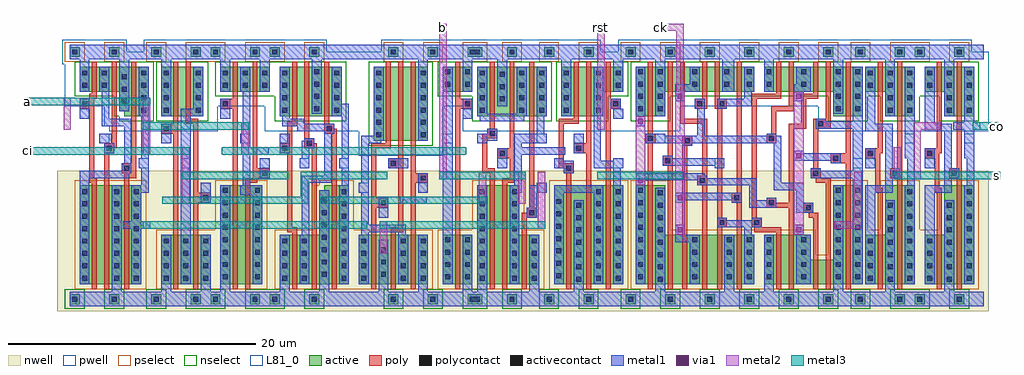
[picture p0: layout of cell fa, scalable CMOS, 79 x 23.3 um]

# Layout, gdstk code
from math import pi, radians
import gdstk
lib = gdstk.Library(unit=1e-6, precision=1e-09)
def R(c, l, rs):  # rectangles x0, y0, x1, y1
    for r in rs: c.add(gdstk.rectangle(r[:2], r[2:], *l))
def A(c, l, x, y, w, h, nx, ny, dx, dy):  # array of equal rectangles
    R(c, l, [(x+i*dx, y+j*dy, x+i*dx+w, y+j*dy+h) for i in range(nx) for j in range(ny)])
pwell = (41, 0)
nwell = (42, 0)
active = (43, 0)
pselect = (44, 0)
nselect = (45, 0)
poly = (46, 0)
polycontact = (47, 0)
activecontact = (48, 0)
metal1 = (49, 0)
via1 = (50, 0)
metal2 = (51, 0)
metal3 = (62, 0)
L81_0 = (81, 0)

or2x2 = lib.new_cell('OR2X2')
R(or2x2, pwell, [(-1,-1,4.2,0), (-1,0,7.2,1), (-0.8,1,7.2,4.4), (2.4,4.4,7.2,6), (2.8,6,7.2,6.4)])
R(or2x2, nwell, [(-1.4,9.6,7,21)])
R(or2x2, active, [(-0.4,-0.4,0.4,0.4), (2.8,-0.4,3.6,0.4), (0.4,1.2,6,3.2), (3.6,3.2,6,4.8), (4,4.8,6,5.2), (0.4,10.8,5.4,18.8), (-0.4,19.6,0.4,20.4), (2.8,19.6,3.6,20.4)])
R(or2x2, pselect, [(-0.8,-0.8,0.8,0.8), (2.4,-0.8,4,0.8), (0,10.4,5.8,19.2)])
R(or2x2, nselect, [(0,0.8,6.4,3.6), (3.2,3.6,6.4,5.2), (3.6,5.2,6.4,5.6), (-0.8,19.2,0.8,20.8), (2.4,19.2,4,20.8)])
R(or2x2, poly, [(1.4,0.8,1.8,3.4), (3,0.8,3.4,7.4), (4.6,0.8,5,9), (1.2,3.4,1.8,3.8), (0.4,3.8,1.6,4.6), (1.2,4.6,1.6,10.2), (2.4,7.4,3.4,7.8), (2.4,7.8,3.2,8.2), (2.4,8.2,2.8,19.2), (3.8,9,5,9.8), (4,9.8,5,10.2), (1.2,10.2,1.8,10.6), (4,10.2,4.4,19.2), (1.4,10.6,1.8,19.2)])
R(or2x2, polycontact, [(0.6,4,1,4.4), (2.6,7.6,3,8), (4,9.2,4.4,9.6)])
A(or2x2, activecontact, 5.4, 1.5, 0.4, 0.4, 1, 4, 0, 1)
A(or2x2, activecontact, 3.8, 1.8, 0.4, 0.4, 1, 3, 0, 1)
A(or2x2, activecontact, 0.6, 11.1, 0.4, 0.4, 1, 8, 0, 1)
A(or2x2, activecontact, 3.2, 11.1, 0.4, 0.4, 1, 8, 0, 1)
A(or2x2, activecontact, 4.8, 11.1, 0.4, 0.4, 1, 8, 0, 1)
R(or2x2, activecontact, [(-0.2,-0.2,0.2,0.2), (3,-0.2,3.4,0.2), (0.6,1.5,1,1.9), (2.2,1.5,2.6,1.9), (0.6,2.5,1,2.9), (2.2,2.5,2.6,2.9), (-0.2,19.8,0.2,20.2), (3,19.8,3.4,20.2)])
R(or2x2, metal1, [(-0.4,-0.6,6.8,0.6), (0.4,0.6,1.2,3.2), (3.6,0.6,4.4,4.8), (2,1.2,2.8,3.2), (5.2,1.2,6,5.2), (2.2,3.2,2.8,5.4), (0.4,3.8,1.2,5.4), (5.4,5.2,6,8.6), (2.2,5.4,4.6,6), (4,6,4.6,9), (2,6.6,3,7.4), (2.4,7.4,3.2,8.2), (5.2,8.6,6,9.4), (3.8,9,4.6,9.6), (5.4,9.4,6,10.8), (0.4,9.6,4.6,9.8), (0.4,9.8,4.4,10.2), (0.4,10.2,1.2,18.8), (3,10.8,3.8,19.4), (4.6,10.8,6,11.4), (4.6,11.4,5.4,18.8), (-0.4,19.4,6.8,20.6)])
R(or2x2, L81_0, [(0.4,4.6,1.2,5.4), (2,6.6,2.8,7.4), (5.2,8.6,6,9.4)])
or2x2.add(gdstk.Label('Y', (5.6,9), layer=49, texttype=0))
or2x2.add(gdstk.Label('B', (2.4,7), layer=49, texttype=0))
or2x2.add(gdstk.Label('vdd', (0.8,20), layer=49, texttype=0))
or2x2.add(gdstk.Label('gnd', (0.8,0), layer=49, texttype=0))
or2x2.add(gdstk.Label('A', (0.8,5), layer=49, texttype=0))

nand2x1 = lib.new_cell('NAND2X1')
R(nand2x1, pwell, [(-1,-1,4.2,0), (-1,0,5,1), (-0.8,1,5,6.4)])
R(nand2x1, nwell, [(-1.6,9.6,6.4,21)])
R(nand2x1, active, [(-0.4,-0.4,0.4,0.4), (2.8,-0.4,3.6,0.4), (0.4,1.2,3.8,5.2), (0.4,14.8,4.4,18.8), (-0.4,19.6,0.4,20.4), (2.8,19.6,3.6,20.4)])
R(nand2x1, pselect, [(-0.8,-0.8,0.8,0.8), (2.4,-0.8,4,0.8), (0,14.4,4.8,19.2)])
R(nand2x1, nselect, [(0,0.8,4.2,5.6), (-0.8,19.2,0.8,20.8), (2.4,19.2,4,20.8)])
R(nand2x1, poly, [(1.4,0.8,1.8,5.8), (2.4,0.8,2.8,5.4), (2.4,5.4,3.4,5.8), (0.4,5.8,1.8,6.6), (3,5.8,3.4,11.4), (1.4,6.6,1.8,19.2), (3,11.4,4.4,12.2), (3,12.2,3.4,19.2)])
R(nand2x1, polycontact, [(0.6,6,1,6.4), (3.8,11.6,4.2,12)])
A(nand2x1, activecontact, 0.6, 1.5, 0.4, 0.4, 1, 4, 0, 1)
A(nand2x1, activecontact, 3.2, 1.5, 0.4, 0.4, 1, 4, 0, 1)
A(nand2x1, activecontact, 0.6, 15.1, 0.4, 0.4, 3, 4, 1.6, 1)
R(nand2x1, activecontact, [(-0.2,-0.2,0.2,0.2), (3,-0.2,3.4,0.2), (-0.2,19.8,0.2,20.2), (3,19.8,3.4,20.2)])
R(nand2x1, metal1, [(-0.4,-0.6,5.2,0.6), (0.4,0.6,1.2,5.2), (3,1.2,3.8,4.6), (2,4.6,3.8,5.2), (2,5.2,2.8,18.8), (0.4,5.8,1.2,7.4), (3.6,10.6,4.4,12.2), (0.4,14.8,1.2,19.4), (3.6,14.8,4.4,19.4), (-0.4,19.4,5.2,20.6)])
R(nand2x1, L81_0, [(0.4,6.6,1.2,7.4), (2,8.6,2.8,9.4), (3.6,10.6,4.4,11.4)])
nand2x1.add(gdstk.Label('vdd', (0.8,20), layer=49, texttype=0))
nand2x1.add(gdstk.Label('Y', (2.4,9), layer=49, texttype=0))
nand2x1.add(gdstk.Label('gnd', (0.8,0), layer=49, texttype=0))
nand2x1.add(gdstk.Label('A', (0.8,7), layer=49, texttype=0))
nand2x1.add(gdstk.Label('B', (4,11), layer=49, texttype=0))

nor2x1 = lib.new_cell('NOR2X1')
R(nor2x1, pwell, [(-1,-1,4.2,0), (-1,0,5.6,1), (-0.8,1,5.6,4.4)])
R(nor2x1, nwell, [(-1.6,9.6,6.4,21)])
R(nor2x1, active, [(-0.4,-0.4,0.4,0.4), (2.8,-0.4,3.6,0.4), (0.4,1.2,4.4,3.2), (0.4,10.8,3.8,18.8), (-0.4,19.6,0.4,20.4), (2.8,19.6,3.6,20.4)])
R(nor2x1, pselect, [(-0.8,-0.8,0.8,0.8), (2.4,-0.8,4,0.8), (0,10.4,4.2,19.2)])
R(nor2x1, nselect, [(0,0.8,4.8,3.6), (-0.8,19.2,0.8,20.8), (2.4,19.2,4,20.8)])
R(nor2x1, poly, [(1.4,0.8,1.8,3.8), (3,0.8,3.4,9.4), (0.4,3.8,1.8,4.6), (1.4,4.6,1.8,19.2), (3,9.4,4.4,10.2), (2.4,10.2,3.4,10.6), (2.4,10.6,2.8,19.2)])
R(nor2x1, polycontact, [(0.6,4,1,4.4), (3.8,9.6,4.2,10)])
A(nor2x1, activecontact, 0.6, 1.5, 0.4, 0.4, 3, 2, 1.6, 1)
A(nor2x1, activecontact, 0.6, 11, 0.4, 0.4, 1, 8, 0, 1)
A(nor2x1, activecontact, 3.2, 11, 0.4, 0.4, 1, 8, 0, 1)
R(nor2x1, activecontact, [(-0.2,-0.2,0.2,0.2), (3,-0.2,3.4,0.2), (-0.2,19.8,0.2,20.2), (3,19.8,3.4,20.2)])
R(nor2x1, metal1, [(-0.4,-0.6,5.2,0.6), (0.4,0.6,1.2,3.2), (3.6,0.6,4.4,3.2), (2,1.2,2.8,3.2), (2.2,3.2,2.8,6.6), (0.4,3.8,1.2,5.4), (2,6.6,2.8,7.4), (2.2,7.4,2.8,10.8), (3.6,8.6,4.4,10.2), (0.4,10.8,1.2,19.4), (2,10.8,3.8,11.6), (3,11.6,3.8,18.8), (-0.4,19.4,5.2,20.6)])
R(nor2x1, L81_0, [(0.4,4.6,1.2,5.4), (2,6.6,2.8,7.4), (3.6,8.6,4.4,9.4)])
nor2x1.add(gdstk.Label('vdd', (0.8,20), layer=49, texttype=0))
nor2x1.add(gdstk.Label('B', (4,9), layer=49, texttype=0))
nor2x1.add(gdstk.Label('gnd', (0.8,0), layer=49, texttype=0))
nor2x1.add(gdstk.Label('Y', (2.4,7), layer=49, texttype=0))
nor2x1.add(gdstk.Label('A', (0.8,5), layer=49, texttype=0))

and2x2 = lib.new_cell('AND2X2')
R(and2x2, pwell, [(-1,-1,4.2,0), (-1,0,6.6,1), (-0.8,1,6.6,6.4)])
R(and2x2, nwell, [(-1.6,9.6,8,21)])
R(and2x2, active, [(-0.4,-0.4,0.4,0.4), (2.8,-0.4,3.6,0.4), (0.4,1.2,5.4,5.2), (4,10.8,6,11.2), (3.6,11.2,6,14.8), (0.4,14.8,6,18.8), (-0.4,19.6,0.4,20.4), (2.8,19.6,3.6,20.4)])
R(and2x2, pselect, [(-0.8,-0.8,0.8,0.8), (2.4,-0.8,4,0.8), (3.6,10.4,6.4,10.8), (3.2,10.8,6.4,14.4), (0,14.4,6.4,19.2)])
R(and2x2, nselect, [(0,0.8,5.8,5.6), (-0.8,19.2,0.8,20.8), (2.4,19.2,4,20.8)])
R(and2x2, poly, [(1.4,0.8,1.8,5.6), (2.4,0.8,2.8,7), (4,0.8,4.4,5.8), (1,5.6,1.8,6), (4,5.8,4.8,6.2), (1,6,1.4,7.4), (4,6.2,5,6.6), (4.6,6.6,5,19.2), (2.4,7,3.2,7.4), (0.4,7.4,1.4,8.2), (2.4,7.4,3.4,7.8), (3,7.8,3.4,19.2), (1,8.2,1.4,14.2), (1,14.2,1.8,14.6), (1.4,14.6,1.8,19.2)])
R(and2x2, polycontact, [(4.2,6,4.6,6.4), (2.6,7.2,3,7.6), (0.6,7.6,1,8)])
A(and2x2, activecontact, 3.2, 1.4, 0.4, 0.4, 1, 4, 0, 1)
A(and2x2, activecontact, 0.6, 1.5, 0.4, 0.4, 1, 4, 0, 1)
A(and2x2, activecontact, 4.8, 1.5, 0.4, 0.4, 1, 4, 0, 1)
A(and2x2, activecontact, 5.4, 11.1, 0.4, 0.4, 1, 8, 0, 1)
A(and2x2, activecontact, 3.8, 11.8, 0.4, 0.4, 1, 7, 0, 1)
A(and2x2, activecontact, 0.6, 15.1, 0.4, 0.4, 1, 4, 0, 1)
A(and2x2, activecontact, 2.2, 15.1, 0.4, 0.4, 1, 4, 0, 1)
R(and2x2, activecontact, [(-0.2,-0.2,0.2,0.2), (3,-0.2,3.4,0.2), (-0.2,19.8,0.2,20.2), (3,19.8,3.4,20.2)])
R(and2x2, metal1, [(-0.4,-0.6,6.8,0.6), (3,0.6,3.8,5), (0.4,1.2,1.2,5.2), (4.6,1.2,5.4,4.2), (4.6,4.2,6,5.2), (0.6,5.2,1.2,5.4), (5.4,5.2,6,8.6), (0.6,5.4,2.4,5.8), (0.6,5.8,4.8,6), (1.8,6,4.8,6.4), (4,6.4,4.8,6.6), (0.4,6.6,1.2,8.2), (4,6.6,4.6,10), (2.4,7,3.2,7.2), (2.2,7.2,3.2,7.8), (2.2,7.8,2.8,8.6), (2,8.6,2.8,9.4), (5.2,8.6,6,9.4), (5.4,9.4,6,10.8), (2.2,10,4.6,10.6), (2.2,10.6,2.8,14.8), (5.2,10.8,6,18.8), (3.6,11.2,4.4,19.4), (0.4,14.8,1.2,19.4), (2,14.8,2.8,18.8), (-0.4,19.4,6.8,20.6)])
R(and2x2, L81_0, [(0.4,6.6,1.2,7.4), (2,8.6,2.8,9.4), (5.2,8.6,6,9.4)])
and2x2.add(gdstk.Label('vdd', (0.8,20), layer=49, texttype=0))
and2x2.add(gdstk.Label('gnd', (0.8,0), layer=49, texttype=0))
and2x2.add(gdstk.Label('A', (0.8,7), layer=49, texttype=0))
and2x2.add(gdstk.Label('B', (2.4,9), layer=49, texttype=0))
and2x2.add(gdstk.Label('Y', (5.6,9), layer=49, texttype=0))

nand3x1 = lib.new_cell('NAND3X1')
R(nand3x1, pwell, [(-1,-1,4.2,0), (-1,0,6,1), (-0.8,1,6,8.4)])
R(nand3x1, nwell, [(-1.6,9.6,8,21)])
R(nand3x1, active, [(-0.4,-0.4,0.4,0.4), (2.8,-0.4,3.6,0.4), (0.4,1.2,4.8,7.2), (0.4,14.8,6,18.8), (-0.4,19.6,0.4,20.4), (2.8,19.6,3.6,20.4)])
R(nand3x1, pselect, [(-0.8,-0.8,0.8,0.8), (2.4,-0.8,4,0.8), (0,14.4,6.4,19.2)])
R(nand3x1, nselect, [(0,0.8,5.2,7.6), (-0.8,19.2,0.8,20.8), (2.4,19.2,4,20.8)])
R(nand3x1, poly, [(1.4,0.8,1.8,9.8), (2.4,0.8,2.8,8.6), (3.4,0.8,3.8,7.4), (3.4,7.4,5,7.8), (4.6,7.8,5,11.8), (2.4,8.6,3.6,9.4), (2.4,9.4,2.8,14.2), (0.4,9.8,1.8,10.6), (1.4,10.6,1.8,19.2), (3.6,11.8,5,12.6), (4.6,12.6,5,19.2), (2.4,14.2,3.4,14.6), (3,14.6,3.4,19.2)])
R(nand3x1, polycontact, [(3,8.8,3.4,9.2), (0.6,10,1,10.4), (3.8,12,4.2,12.4)])
A(nand3x1, activecontact, 0.6, 1.5, 0.4, 0.4, 1, 6, 0, 1)
A(nand3x1, activecontact, 4.2, 1.5, 0.4, 0.4, 1, 6, 0, 1)
A(nand3x1, activecontact, 0.6, 15.1, 0.4, 0.4, 1, 4, 0, 1)
A(nand3x1, activecontact, 2.2, 15.1, 0.4, 0.4, 1, 4, 0, 1)
A(nand3x1, activecontact, 5.4, 15.1, 0.4, 0.4, 1, 4, 0, 1)
A(nand3x1, activecontact, 3.8, 15.8, 0.4, 0.4, 1, 3, 0, 1)
R(nand3x1, activecontact, [(-0.2,-0.2,0.2,0.2), (3,-0.2,3.4,0.2), (-0.2,19.8,0.2,20.2), (3,19.8,3.4,20.2)])
R(nand3x1, metal1, [(-0.4,-0.6,6.8,0.6), (0.4,0.6,1.2,7.2), (4,1.2,4.8,6.8), (4,6.8,5.8,7.2), (4.2,7.2,5.8,7.4), (5.2,7.4,5.8,10.6), (2,8.6,3.6,9.4), (0.4,9.8,1.2,11.4), (5.2,10.6,6,11.4), (5.2,11.4,5.8,14), (3.6,11.8,4.4,13.4), (2.2,14,5.8,14.6), (2.2,14.6,2.8,14.8), (5.2,14.6,5.8,14.8), (0.4,14.8,1.2,19.4), (2,14.8,2.8,18.8), (5.2,14.8,6,18.8), (3.6,15.2,4.4,19.4), (-0.4,19.4,6.8,20.6)])
R(nand3x1, L81_0, [(2,8.6,2.8,9.4), (0.4,10.6,1.2,11.4), (5.2,10.6,6,11.4), (3.6,12.6,4.4,13.4)])
nand3x1.add(gdstk.Label('B', (2.4,9), layer=49, texttype=0))
nand3x1.add(gdstk.Label('vdd', (0.8,20), layer=49, texttype=0))
nand3x1.add(gdstk.Label('gnd', (0.8,0), layer=49, texttype=0))
nand3x1.add(gdstk.Label('A', (0.8,11), layer=49, texttype=0))
nand3x1.add(gdstk.Label('C', (4,13), layer=49, texttype=0))
nand3x1.add(gdstk.Label('Y', (5.6,11), layer=49, texttype=0))

invx1 = lib.new_cell('INVX1')
R(invx1, pwell, [(-1,-1,1,0), (-1,0,4,1), (-0.8,1,4,4.4)])
R(invx1, nwell, [(-1.8,9.6,5.2,21)])
R(invx1, active, [(-0.4,-0.4,0.4,0.4), (0.4,1.2,2.8,3.2), (0.4,14.8,2.8,18.8), (-0.4,19.6,0.4,20.4)])
R(invx1, pselect, [(-0.8,-0.8,0.8,0.8), (0,14.4,3.2,19.2)])
R(invx1, nselect, [(0,0.8,3.2,3.6), (-0.8,19.2,0.8,20.8)])
R(invx1, poly, [(1.4,0.8,1.8,3.8), (0.4,3.8,1.8,4.6), (1.4,4.6,1.8,19.2)])
R(invx1, polycontact, [(0.6,4,1,4.4)])
A(invx1, activecontact, 0.6, 15, 0.4, 0.4, 1, 4, 0, 1)
A(invx1, activecontact, 2.2, 15, 0.4, 0.4, 1, 4, 0, 1)
R(invx1, activecontact, [(-0.2,-0.2,0.2,0.2), (0.6,1.4,1,1.8), (2.2,1.4,2.6,1.8), (0.6,2.4,1,2.8), (2.2,2.4,2.6,2.8), (-0.2,19.8,0.2,20.2)])
R(invx1, metal1, [(-0.4,-0.6,3.6,0.6), (0.4,0.6,1.2,3.2), (2,1.2,2.8,18.8), (0.4,3.8,1.2,5.4), (0.4,14.8,1.2,19.4), (-0.4,19.4,3.6,20.6)])
R(invx1, L81_0, [(0.4,4.6,1.2,5.4), (2,6.6,2.8,7.4)])
invx1.add(gdstk.Label('A', (0.8,5), layer=49, texttype=0))
invx1.add(gdstk.Label('Y', (2.4,7), layer=49, texttype=0))
invx1.add(gdstk.Label('vdd', (0.8,20), layer=49, texttype=0))
invx1.add(gdstk.Label('gnd', (0.8,0), layer=49, texttype=0))

oai21x1 = lib.new_cell('OAI21X1')
R(oai21x1, pwell, [(-1,-1,4.2,0), (-1,0,7.2,1), (-0.8,1,7.2,6.4)])
R(oai21x1, nwell, [(-1.6,9.6,6.8,21)])
R(oai21x1, active, [(-0.4,-0.4,0.4,0.4), (2.8,-0.4,3.6,0.4), (0.4,1.2,6,5.2), (0.4,10.8,3.8,14.8), (0.4,14.8,5.4,18.8), (-0.4,19.6,0.4,20.4), (2.8,19.6,3.6,20.4)])
R(oai21x1, pselect, [(-0.8,-0.8,0.8,0.8), (2.4,-0.8,4,0.8), (0,10.4,4.2,14.4), (0,14.4,5.8,19.2)])
R(oai21x1, nselect, [(0,0.8,6.4,5.6), (-0.8,19.2,0.8,20.8), (2.4,19.2,4,20.8)])
R(oai21x1, poly, [(1.4,0.8,1.8,6.2), (3,0.8,3.4,7.8), (4.6,0.8,5,12.6), (1.2,6.2,2,6.6), (0.8,6.6,2,7), (0.8,7,1.2,9.4), (2,7.8,3.4,8.6), (3,8.6,3.4,10.2), (0.8,9.4,1.8,9.8), (1.4,9.8,1.8,19.2), (2.4,10.2,3.4,10.6), (2.4,10.6,2.8,19.2), (4.4,12.6,5.2,13), (4,13,5.2,13.4), (4,13.4,4.4,19.2)])
R(oai21x1, polycontact, [(1.4,6.4,1.8,6.8), (2.2,8,2.6,8.4), (4.6,12.8,5,13.2)])
A(oai21x1, activecontact, 0.6, 1.5, 0.4, 0.4, 1, 4, 0, 1)
A(oai21x1, activecontact, 3.8, 1.5, 0.4, 0.4, 1, 4, 0, 1)
A(oai21x1, activecontact, 5.4, 1.5, 0.4, 0.4, 1, 4, 0, 1)
A(oai21x1, activecontact, 2.2, 1.6, 0.4, 0.4, 1, 3, 0, 1)
A(oai21x1, activecontact, 0.6, 11.1, 0.4, 0.4, 1, 8, 0, 1)
A(oai21x1, activecontact, 3.2, 11.1, 0.4, 0.4, 1, 8, 0, 1)
A(oai21x1, activecontact, 4.8, 15.1, 0.4, 0.4, 1, 4, 0, 1)
R(oai21x1, activecontact, [(-0.2,-0.2,0.2,0.2), (3,-0.2,3.4,0.2), (-0.2,19.8,0.2,20.2), (3,19.8,3.4,20.2)])
R(oai21x1, metal1, [(-0.4,-0.6,6.8,0.6), (2,0.6,2.8,4.4), (0.4,1.2,1.2,5), (3.6,1.2,4.4,5), (5.2,1.2,6,5.2), (0.4,5,4.4,5.2), (0.6,5.2,4.2,5.6), (5.2,5.2,5.8,6.6), (1.2,6.2,2,6.6), (0.4,6.6,2,7.2), (3.4,6.6,6,7.4), (0.4,7.2,1.2,7.4), (3.4,7.4,4,10.8), (2,7.8,2.8,9.4), (5.2,10.6,6,10.8), (0.4,10.8,1.2,19.4), (3,10.8,4,11.4), (4.6,10.8,6,11.4), (3,11.4,3.8,18.8), (4.6,11.4,5.2,12.6), (4.4,12.6,5.2,13.4), (4.6,14.8,5.4,19.4), (-0.4,19.4,6.8,20.6)])
R(oai21x1, L81_0, [(0.4,6.6,1.2,7.4), (5.2,6.6,6,7.4), (2,8.6,2.8,9.4), (5.2,10.6,6,11.4)])
oai21x1.add(gdstk.Label('gnd', (0.8,0), layer=49, texttype=0))
oai21x1.add(gdstk.Label('vdd', (0.8,20), layer=49, texttype=0))
oai21x1.add(gdstk.Label('A', (0.8,7), layer=49, texttype=0))
oai21x1.add(gdstk.Label('B', (2.4,9), layer=49, texttype=0))
oai21x1.add(gdstk.Label('Y', (5.6,7), layer=49, texttype=0))
oai21x1.add(gdstk.Label('C', (5.6,11), layer=49, texttype=0))

aoi21x1 = lib.new_cell('AOI21X1')
R(aoi21x1, pwell, [(-1,-1,4.2,0), (-1,0,7.2,1), (-0.2,1,7.2,4.4), (-0.2,4.4,5.6,6.4)])
R(aoi21x1, nwell, [(-1.4,9.6,7.8,21)])
R(aoi21x1, active, [(-0.4,-0.4,0.4,0.4), (2.8,-0.4,3.6,0.4), (1,1.2,6,3.2), (1,3.2,4.4,5.2), (0.4,10.8,6,18.8), (-0.4,19.6,0.4,20.4), (2.8,19.6,3.6,20.4)])
R(aoi21x1, pselect, [(-0.8,-0.8,0.8,0.8), (2.4,-0.8,4,0.8), (0,10.4,6.4,19.2)])
R(aoi21x1, nselect, [(0.6,0.8,6.4,3.6), (0.6,3.6,4.8,5.6), (-0.8,19.2,0.8,20.8), (2.4,19.2,4,20.8)])
R(aoi21x1, poly, [(2,0.8,2.4,5.4), (3,0.8,3.4,7.4), (4.6,0.8,5,3.8), (4.6,3.8,5.8,4.6), (4.6,4.6,5,19.2), (0.8,5.4,2.4,5.8), (0.8,5.8,1.2,9), (2,7.4,3.4,8.2), (3,8.2,3.4,19.2), (0.8,9,2,9.4), (1.2,9.4,2,9.8), (1.4,9.8,1.8,19.2)])
R(aoi21x1, polycontact, [(5.2,4,5.6,4.4), (2.2,7.6,2.6,8), (1.4,9.2,1.8,9.6)])
A(aoi21x1, activecontact, 1.2, 1.5, 0.4, 0.4, 1, 4, 0, 1)
A(aoi21x1, activecontact, 3.8, 1.5, 0.4, 0.4, 1, 4, 0, 1)
A(aoi21x1, activecontact, 3.8, 11.1, 0.4, 0.4, 1, 8, 0, 1)
A(aoi21x1, activecontact, 5.4, 11.1, 0.4, 0.4, 1, 8, 0, 1)
A(aoi21x1, activecontact, 0.6, 11.9, 0.4, 0.4, 1, 7, 0, 1)
A(aoi21x1, activecontact, 2.2, 12.2, 0.4, 0.4, 1, 7, 0, 1)
R(aoi21x1, activecontact, [(-0.2,-0.2,0.2,0.2), (3,-0.2,3.4,0.2), (5.4,1.5,5.8,1.9), (5.4,2.5,5.8,2.9), (-0.2,19.8,0.2,20.2), (3,19.8,3.4,20.2)])
R(aoi21x1, metal1, [(-0.4,-0.6,6.8,0.6), (1,0.6,1.8,5.2), (5.2,0.6,6,3.2), (3.6,1.2,4.4,5.2), (5,3.8,5.8,4.6), (5.2,4.6,6,5.4), (3.6,5.2,4.2,8.8), (2,6.6,2.8,8.2), (0.4,8.6,1.2,8.8), (5.2,8.6,6,8.8), (0.4,8.8,2,9.4), (3.6,8.8,6,9.4), (1.2,9.4,2,9.8), (5.2,9.4,5.8,10.8), (0.4,10.8,4.4,11.4), (5.2,10.8,6,18.8), (0.4,11.4,1.2,18.8), (3.6,11.4,4.4,18.8), (2,12,2.8,19.4), (-0.4,19.4,6.8,20.6)])
R(aoi21x1, L81_0, [(5.2,4.6,6,5.4), (2,6.6,2.8,7.4), (0.4,8.6,1.2,9.4), (5.2,8.6,6,9.4)])
aoi21x1.add(gdstk.Label('gnd', (0.8,0), layer=49, texttype=0))
aoi21x1.add(gdstk.Label('vdd', (0.8,20), layer=49, texttype=0))
aoi21x1.add(gdstk.Label('A', (0.8,9), layer=49, texttype=0))
aoi21x1.add(gdstk.Label('B', (2.4,7), layer=49, texttype=0))
aoi21x1.add(gdstk.Label('Y', (5.6,9), layer=49, texttype=0))
aoi21x1.add(gdstk.Label('C', (5.6,5), layer=49, texttype=0))

dffposx1 = lib.new_cell('DFFPOSX1')
R(dffposx1, pwell, [(-1,-1,17,0), (-1,0,20,1), (-0.8,1,20,4.4), (-0.8,4.4,4,6.4), (15.2,4.4,20,6.4)])
R(dffposx1, nwell, [(-1.6,9.6,20.8,21)])
A(dffposx1, active, -0.4, -0.4, 0.8, 0.8, 6, 2, 3.2, 20)
R(dffposx1, active, [(0.4,1.2,10,3.2), (10.8,1.2,18.8,3.2), (0.4,3.2,2.8,5.2), (16.4,3.2,18.8,5.2), (0.4,10.8,2.8,14.8), (16.4,10.8,18.8,16.8), (0.4,14.8,10,18.8), (10.8,14.8,14.6,16.8), (10.8,16.8,18.8,18.8)])
A(dffposx1, pselect, -0.8, -0.8, 1.6, 1.6, 6, 1, 3.2, 0)
R(dffposx1, pselect, [(0,10.4,3.2,14.4), (16,10.4,19.2,16.4), (0,14.4,15,16.4), (0,16.4,19.2,19.2)])
A(dffposx1, nselect, -0.8, 19.2, 1.6, 1.6, 6, 1, 3.2, 0)
R(dffposx1, nselect, [(0,0.8,19.2,3.6), (0,3.6,3.2,5.6), (16,3.6,19.2,5.6)])
R(dffposx1, poly, [(1.4,0.8,1.8,6.6), (3,0.8,3.4,8.4), (4,0.8,4.4,5.4), (5.8,0.8,6.2,3.8), (6.8,0.8,7.2,3.8), (8.6,0.8,9,11.4), (11.8,0.8,12.2,3.4), (12.8,0.8,13.2,4.4), (14.8,0.8,15.2,3.4), (15.8,0.8,16.2,5.4), (17.4,0.8,17.8,8.2), (9.8,3.4,12.2,3.8), (13.8,3.4,15.2,3.8), (5.2,3.8,6.2,4.6), (6.8,3.8,7.8,4.6), (9.8,3.8,10.2,13.4), (13.8,3.8,14.2,5.8), (11.4,4.4,13.2,4.8), (7,4.6,7.4,13.4), (11.4,4.8,11.8,6.6), (4,5.4,6.2,5.8), (14.8,5.4,16.2,6.2), (5.8,5.8,6.2,10), (12.8,5.8,14.2,6.2), (12.8,6.2,13.2,12.2), (14.8,6.2,15.2,9.4), (1.2,6.6,2,7.4), (11,6.6,11.8,7.4), (4.2,6.8,5,7.6), (1.4,7.4,1.8,19.2), (4.2,7.6,4.6,19.2), (16.2,8.2,17.8,9), (2.6,8.4,3.4,9.2), (17.4,9,17.8,19.2), (3,9.2,3.4,19.2), (14.6,9.4,15.4,10.2), (5.4,10,6.2,10.8), (15,10.2,16.2,10.6), (15.8,10.6,16.2,19.2), (5.8,10.8,6.2,19.2), (8.2,11.4,9,12.2), (11,11.8,11.8,12.2), (8.6,12.2,9,19.2), (11,12.2,13.2,12.6), (14,12.2,14.8,13), (12.8,12.6,13.2,19.2), (14.4,13,15.2,13.4), (7,13.4,7.8,14.2), (9.8,13.4,10.6,14.2), (14.8,13.4,15.2,19.2), (7,14.2,7.4,19.2), (10,14.2,12.2,14.6), (11.8,14.6,12.2,19.2)])
R(dffposx1, polycontact, [(5.4,4,5.8,4.4), (7.2,4,7.6,4.4), (15.2,5.6,15.6,6), (1.4,6.8,1.8,7.2), (11.2,6.8,11.6,7.2), (4.4,7,4.8,7.4), (16.4,8.4,16.8,8.8), (2.8,8.6,3.2,9), (14.8,9.6,15.2,10), (5.6,10.2,6,10.6), (8.4,11.6,8.8,12), (11.2,12,11.6,12.4), (14.2,12.4,14.6,12.8), (7.2,13.6,7.6,14), (10,13.6,10.4,14)])
A(dffposx1, activecontact, -0.2, -0.2, 0.4, 0.4, 6, 2, 3.2, 20)
A(dffposx1, activecontact, 0.6, 1.4, 0.4, 0.4, 1, 4, 0, 1)
A(dffposx1, activecontact, 2.2, 1.4, 0.4, 0.4, 1, 4, 0, 1)
A(dffposx1, activecontact, 11, 1.4, 0.4, 0.4, 3, 2, 2.8, 1)
A(dffposx1, activecontact, 18.2, 1.4, 0.4, 0.4, 1, 4, 0, 1)
A(dffposx1, activecontact, 0.6, 11, 0.4, 0.4, 1, 8, 0, 1)
A(dffposx1, activecontact, 16.6, 11, 0.4, 0.4, 1, 8, 0, 1)
A(dffposx1, activecontact, 18.2, 11, 0.4, 0.4, 1, 8, 0, 1)
A(dffposx1, activecontact, 2.2, 11.2, 0.4, 0.4, 1, 8, 0, 1)
A(dffposx1, activecontact, 5, 15, 0.4, 0.4, 1, 4, 0, 1)
A(dffposx1, activecontact, 7.8, 15, 0.4, 0.4, 3, 4, 1.6, 1)
A(dffposx1, activecontact, 13.8, 15, 0.4, 0.4, 1, 4, 0, 1)
R(dffposx1, activecontact, [(5,1.4,5.4,1.8), (7.6,1.4,8,1.8), (9.4,1.4,9.8,1.8), (5,2.4,5.4,2.8), (7.6,2.4,8,2.8), (9.4,2.4,9.8,2.8), (16.6,3.4,17,3.8), (16.6,4.4,17,4.8)])
R(dffposx1, metal1, [(-0.4,-0.6,19.6,0.6), (2,0.6,2.8,5.2), (7.4,0.6,8.4,3.2), (10.8,0.6,11.6,3.2), (16.4,0.6,17.2,5), (0.4,1.2,1.2,6), (4.8,1.2,5.6,2.6), (9.2,1.2,10,3.2), (13.4,1.2,14.6,2.6), (18,1.2,18.8,5.6), (3.6,2.6,5.6,3.2), (13.2,2.6,14.6,3.2), (3.6,3.2,4.4,4), (9.2,3.2,9.8,3.8), (13.2,3.2,14,4), (5.2,3.8,6,4.6), (7,3.8,9.8,4.4), (7,4.4,7.8,4.6), (5.4,4.6,6,6.8), (15,5.4,15.8,5.6), (15,5.6,18.8,6.2), (18,6.2,18.8,9.6), (1.2,6.6,2.8,6.8), (11,6.6,11.8,6.8), (1.2,6.8,12.2,7.4), (4.2,7.4,5,7.6), (11.6,7.4,12.2,10.6), (13.2,8,14,8.2), (13.2,8.2,17,8.8), (2.6,8.4,3.4,8.6), (2.6,8.6,7.6,9.2), (16.2,8.8,17,9), (6.8,9.2,7.6,9.4), (14.6,9.4,15.4,9.6), (14.6,9.6,18.8,10.2), (0.4,9.8,6,10), (0.4,10,6.2,10.2), (0.4,10.2,10.2,10.4), (18,10.2,18.8,18.8), (0.4,10.4,1.2,18.8), (5.4,10.4,10.2,10.8), (11.6,10.6,14,11.2), (9.6,10.8,10.2,12), (16.4,10.8,17.2,19.4), (2,11,2.8,19.4), (13.4,11.2,14,12.2), (3.6,11.4,9,12), (11,11.8,11.8,12), (3.6,12,4.4,12.2), (8.2,12,9,12.2), (9.6,12,11.8,12.6), (13.4,12.2,14.8,13), (7,13.4,7.8,13.6), (9.8,13.4,10.6,13.6), (7,13.6,10.6,14.2), (3.6,14,4.4,14.8), (13.2,14,14,14.8), (9.2,14.2,9.8,14.8), (3.6,14.8,5.6,15.4), (7.6,14.8,8.4,19.4), (9.2,14.8,10,18.8), (10.8,14.8,11.6,19.4), (13.4,14.8,14.6,18.8), (4.8,15.4,5.6,18.8), (-0.4,19.4,19.6,20.6)])
R(dffposx1, via1, [(3.8,3.4,4.2,3.8), (13.4,3.4,13.8,3.8), (0.6,5.4,1,5.8), (13.4,8.2,13.8,8.6), (0.6,10.2,1,10.6), (3.8,11.6,4.2,12), (3.8,14.2,4.2,14.6), (13.4,14.2,13.8,14.6)])
R(dffposx1, metal2, [(3.6,3.2,4.4,14.8), (13.2,3.2,14,14.8), (0.4,5.2,1.2,10.8)])
R(dffposx1, L81_0, [(2,6.6,2.8,7.4), (6.8,8.6,7.6,9.4), (18,8.6,18.8,9.4)])
dffposx1.add(gdstk.Label('vdd', (0.8,20), layer=49, texttype=0))
dffposx1.add(gdstk.Label('D', (7.2,9), layer=49, texttype=0))
dffposx1.add(gdstk.Label('gnd', (0.8,0), layer=49, texttype=0))
dffposx1.add(gdstk.Label('Q', (18.4,9), layer=49, texttype=0))
dffposx1.add(gdstk.Label('CLK', (2.4,7), layer=49, texttype=0))

bufx2 = lib.new_cell('BUFX2')
R(bufx2, pwell, [(-1,-1,4.2,0), (-1,0,5.6,1), (-0.8,1,5.6,4.4), (0.8,4.4,5.6,6.4)])
R(bufx2, nwell, [(-1,9.6,5.6,21)])
R(bufx2, active, [(-0.4,-0.4,0.4,0.4), (2.8,-0.4,3.6,0.4), (0.4,1.2,4.4,3.2), (2,3.2,4.4,5.2), (2,10.8,4.4,14.8), (0.4,14.8,4.4,18.8), (-0.4,19.6,0.4,20.4), (2.8,19.6,3.6,20.4)])
R(bufx2, pselect, [(-0.8,-0.8,0.8,0.8), (2.4,-0.8,4,0.8), (1.6,10.4,4.8,14.4), (0,14.4,4.8,19.2)])
R(bufx2, nselect, [(0,0.8,4.8,3.6), (1.6,3.6,4.8,5.6), (-0.8,19.2,0.8,20.8), (2.4,19.2,4,20.8)])
R(bufx2, poly, [(1.4,0.8,1.8,7.8), (3,0.8,3.4,9.4), (0.4,7.8,1.8,8.2), (0.4,8.2,1.6,8.6), (1.2,8.6,1.6,11), (2.4,9.4,3.4,10.2), (3,10.2,3.4,19.2), (1.2,11,1.8,11.4), (1.4,11.4,1.8,19.2)])
R(bufx2, polycontact, [(0.6,8,1,8.4), (2.6,9.6,3,10)])
A(bufx2, activecontact, 0.6, 1.5, 0.4, 0.4, 3, 2, 1.6, 1)
A(bufx2, activecontact, 3.8, 11.1, 0.4, 0.4, 1, 8, 0, 1)
A(bufx2, activecontact, 2.2, 12.2, 0.4, 0.4, 1, 7, 0, 1)
A(bufx2, activecontact, 0.6, 15.1, 0.4, 0.4, 1, 4, 0, 1)
R(bufx2, activecontact, [(-0.2,-0.2,0.2,0.2), (3,-0.2,3.4,0.2), (2.2,3.5,2.6,3.9), (3.8,3.5,4.2,3.9), (2.2,4.5,2.6,4.9), (3.8,4.5,4.2,4.9), (-0.2,19.8,0.2,20.2), (3,19.8,3.4,20.2)])
R(bufx2, metal1, [(-0.4,-0.6,5.2,0.6), (2,0.6,2.8,5.2), (0.4,1.2,1.2,5.8), (3.6,1.2,4.4,8.6), (0.4,5.8,2.6,6.4), (2,6.4,2.6,9.4), (0.4,7.8,1.2,9.4), (3.8,8.6,4.4,10.8), (2,9.4,3.2,10.2), (2,10.2,2.6,10.8), (0.4,10.8,2.6,11.4), (3.6,10.8,4.4,18.8), (0.4,11.4,1.2,18.8), (2,12,2.8,19.4), (-0.4,19.4,5.2,20.6)])
R(bufx2, L81_0, [(3.6,6.6,4.4,7.4), (0.4,8.6,1.2,9.4)])
bufx2.add(gdstk.Label('vdd', (0.8,20), layer=49, texttype=0))
bufx2.add(gdstk.Label('gnd', (0.8,0), layer=49, texttype=0))
bufx2.add(gdstk.Label('A', (0.8,9), layer=49, texttype=0))
bufx2.add(gdstk.Label('Y', (4,7), layer=49, texttype=0))

c_fa = lib.new_cell('fa')
R(c_fa, pwell, [(25,15.6,25.2,22), (46.2,15.6,46.4,17.6), (32.2,22,33.4,23), (38.6,22,39.6,23), (64.2,22,64.8,23)])
R(c_fa, metal1, [(6.1,7.7,8.3,8.3), (28.5,9.7,30.7,10.3), (15.7,13.7,17.9,14.3), (38.1,13.7,41.9,14.3), (73.3,15.7,75.5,16.3)])
R(c_fa, metal2, [(26.9,5.7,27.5,8.3), (39.7,7.7,40.3,12.3), (63.7,7.7,65.9,8.3), (65.3,8.3,65.9,12.3), (10.9,9.7,11.5,14.3), (34.9,9.7,35.5,12.3), (38.1,9.7,38.7,12.3), (31.7,11.7,32.3,24.3), (68.5,11.7,69.1,14.3), (70.1,11.7,70.7,15.7), (7.7,13.7,8.3,18.3), (15.7,13.7,16.3,16.3), (1.3,15.7,1.9,18.3), (44.5,15.7,45.1,24.3), (50.9,15.7,51.5,23.7), (70.1,15.7,72.3,16.3), (49.3,23.7,51.5,24.3)])
R(c_fa, metal3, [(7.7,7.7,25.9,8.3), (26.9,7.7,40.3,8.3), (9.3,9.7,21.1,10.3), (22.1,9.7,35.5,10.3), (20.5,10.3,21.1,11.7), (10.9,11.7,19.5,12.3), (20.5,11.7,27.5,12.3), (31.7,11.7,38.7,12.3), (44.5,11.7,51.5,12.3), (68.5,11.7,77.1,12.3), (-1.9,13.7,11.5,14.3), (14.1,13.7,33.9,14.3), (7.7,15.7,16.3,16.3), (74.9,15.7,77.1,16.3), (-1.9,17.7,8.3,18.3)])
c_fa.add(gdstk.Reference(or2x2, (2.2,22), x_reflection=True))
c_fa.add(gdstk.Reference(nand2x1, (8.8,22), x_reflection=True))
c_fa.add(gdstk.Reference(nor2x1, (13.6,22), x_reflection=True))
c_fa.add(gdstk.Reference(and2x2, (18.4,22), x_reflection=True))
c_fa.add(gdstk.Reference(nand3x1, (31.2,22), rotation=pi))
c_fa.add(gdstk.Reference(invx1, (34.8,22), rotation=pi))
c_fa.add(gdstk.Reference(oai21x1, (34.4,22), x_reflection=True))
c_fa.add(gdstk.Reference(aoi21x1, (40.6,22), x_reflection=True))
c_fa.add(gdstk.Reference(dffposx1, (47.2,22), x_reflection=True))
c_fa.add(gdstk.Reference(bufx2, (65.8,22), x_reflection=True))
c_fa.add(gdstk.Reference(bufx2, (70.6,22), x_reflection=True))
c_fa.add(gdstk.Label('ck', (49.6,24), layer=51, texttype=0))
c_fa.add(gdstk.Label('rst', (44.8,24), layer=51, texttype=0))
c_fa.add(gdstk.Label('a', (-1.6,18), layer=62, texttype=0))
c_fa.add(gdstk.Label('b', (32,24), layer=51, texttype=0))
c_fa.add(gdstk.Label('ci', (-1.6,14), layer=62, texttype=0))
c_fa.add(gdstk.Label('s', (76.8,12), layer=62, texttype=0))
c_fa.add(gdstk.Label('co', (76.8,16), layer=62, texttype=0))

lib.write_gds('fa.gds')
